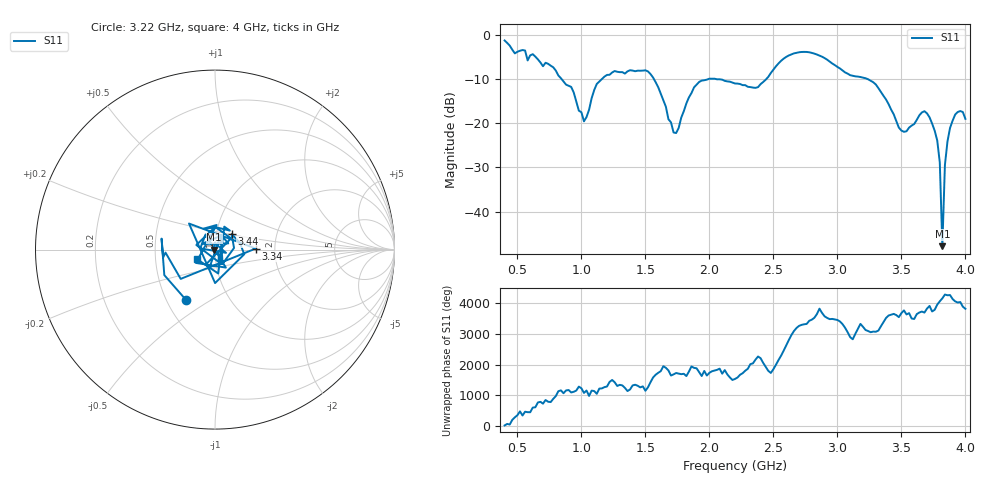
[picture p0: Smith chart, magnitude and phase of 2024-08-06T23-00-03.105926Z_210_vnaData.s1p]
!Created with skrf (http://scikit-rf.org).
# Hz S RI R 50.0
!freq ReS11 ImS11
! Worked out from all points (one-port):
!   181 points, 400 MHz to 4 GHz, reference 50 ohm
!   lowest |S11| = -47.9 dB at 3.82 GHz (marker M1), VSWR 1.01, Z = 49.6 - j0.0544 ohm
!   |S11| at or under -10 dB: 1.567 GHz to 1.988 GHz (420.7 MHz wide, 23.7 % of centre); 2.059 GHz to 2.443 GHz (384.2 MHz wide, 17.1 % of centre); 3.24 GHz to end of sweep (the widest 3 of 4)
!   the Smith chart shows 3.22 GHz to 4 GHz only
!   S11 on the Smith chart (normalised r, x): 3.22 GHz: 0.63, -0.40; 3.34 GHz: 1.59, +0.02; 3.44 GHz: 1.18, +0.21; 4 GHz: 0.82, -0.09
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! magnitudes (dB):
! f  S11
! 400 MHz  -1.2
! 860 MHz  -10.5
! 920 MHz  -11.7
! 1.02 GHz  -19.5
! 1.12 GHz  -11.1
! 1.3 GHz  -8.4
! 1.52 GHz  -8.2
! 1.6 GHz  -11.8
! 1.72 GHz  -22.1
! 1.76 GHz  -21.0
! 1.92 GHz  -10.6
! 2.2 GHz  -11.0
! 2.38 GHz  -11.8
! 2.66 GHz  -4.1
! 3.1 GHz  -9.1
! 3.22 GHz  -9.8
! 3.34 GHz  -12.9
! 3.44 GHz  -18.0
! 3.5 GHz  -21.6
! 3.56 GHz  -21.0
! 3.68 GHz  -17.2
! 3.76 GHz  -21.7
! 3.8 GHz  -28.9
! 3.82 GHz  -47.9
! 3.84 GHz  -29.5
! 3.86 GHz  -24.1
! 3.92 GHz  -18.0
! 4 GHz  -19.0
